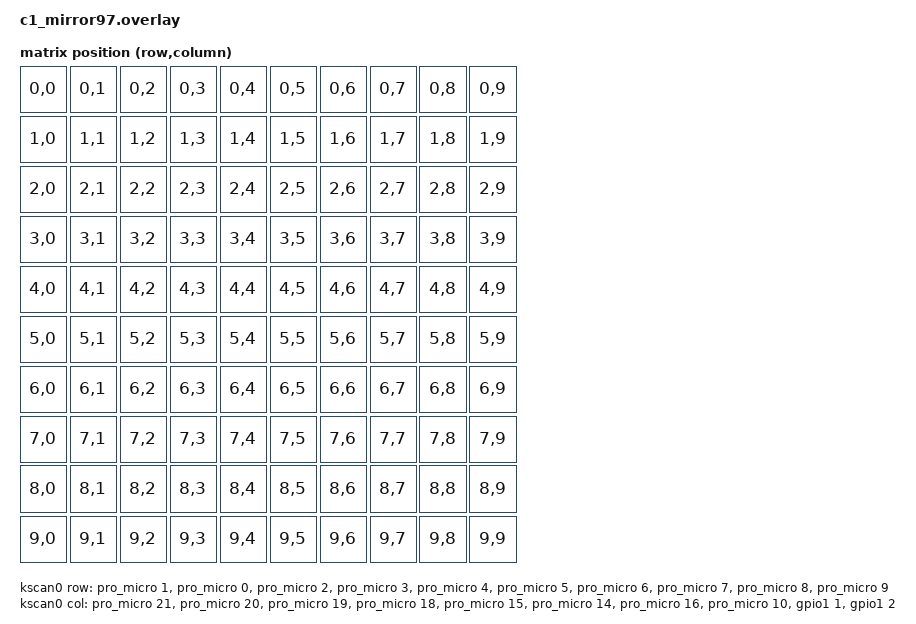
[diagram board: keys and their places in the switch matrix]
/*
 * C1 Mirror97 RGB · 97 键 · 左手真镜像数字区 · Choc V2
 * 主控：nice!nano v2（NRF52840，ZMK board = nice_nano_v2）
 *
 * 矩阵：10 行 x 10 列，二极管阴极接 COL -> diode-direction = "row2col"
 *       row2col 下 rows 为输出、cols 为输入
 *       脚位：18 个边缘 GPIO 做 ROW0..9 + COL0..7；
 *             COL8/COL9 用主控背面 P1.01 / P1.02（方案 A，已 DRC 验证）
 *
 * RGB 灯链：98 颗 SK6812 MINI-E（97 键下灯 + 1 状态灯），串成一条链。
 *       数据脚 = P1.07 (gpio1 7) -> 板载 74AHCT1G125 电平转换 -> 灯链 DIN
 *       用 SPI3 的 MOSI 驱动（WS2812/SK6812 单总线，4MHz），
 *       P1.07 作为 SPIM MOSI 映射到 pinctrl。
 *       灯序已按 v20 重排（按列蛇形），末灯紧邻右上角状态灯。
 */
#include <behaviors.dtsi>
#include <dt-bindings/zmk/keys.h>
#include <dt-bindings/zmk/matrix_transform.h>
#include <dt-bindings/gpio/gpio.h>
#include <dt-bindings/led/led.h>

/ {
    chosen {
        zmk,kscan = &kscan0;
        zmk,matrix-transform = &default_transform;
        zmk,underglow = &led_strip;
    };

    /* 逻辑 10x10 直接按 row-major 展开：keymap 第 n 项 = RC(n/10, n%10) */
    default_transform: keymap_transform_0 {
        compatible = "zmk,matrix-transform";
        columns = <10>;
        rows = <10>;
        map = <
        RC(0,0) RC(0,1) RC(0,2) RC(0,3) RC(0,4) RC(0,5) RC(0,6) RC(0,7) RC(0,8) RC(0,9)
        RC(1,0) RC(1,1) RC(1,2) RC(1,3) RC(1,4) RC(1,5) RC(1,6) RC(1,7) RC(1,8) RC(1,9)
        RC(2,0) RC(2,1) RC(2,2) RC(2,3) RC(2,4) RC(2,5) RC(2,6) RC(2,7) RC(2,8) RC(2,9)
        RC(3,0) RC(3,1) RC(3,2) RC(3,3) RC(3,4) RC(3,5) RC(3,6) RC(3,7) RC(3,8) RC(3,9)
        RC(4,0) RC(4,1) RC(4,2) RC(4,3) RC(4,4) RC(4,5) RC(4,6) RC(4,7) RC(4,8) RC(4,9)
        RC(5,0) RC(5,1) RC(5,2) RC(5,3) RC(5,4) RC(5,5) RC(5,6) RC(5,7) RC(5,8) RC(5,9)
        RC(6,0) RC(6,1) RC(6,2) RC(6,3) RC(6,4) RC(6,5) RC(6,6) RC(6,7) RC(6,8) RC(6,9)
        RC(7,0) RC(7,1) RC(7,2) RC(7,3) RC(7,4) RC(7,5) RC(7,6) RC(7,7) RC(7,8) RC(7,9)
        RC(8,0) RC(8,1) RC(8,2) RC(8,3) RC(8,4) RC(8,5) RC(8,6) RC(8,7) RC(8,8) RC(8,9)
        RC(9,0) RC(9,1) RC(9,2) RC(9,3) RC(9,4) RC(9,5) RC(9,6) RC(9,7) RC(9,8) RC(9,9)
        >;
    };

    kscan0: kscan {
        compatible = "zmk,kscan-gpio-matrix";
        diode-direction = "row2col";
        wakeup-source;

        /* 输出脚：只用 ACTIVE_HIGH */
        row-gpios
              = <&pro_micro 1 GPIO_ACTIVE_HIGH>        /* ROW0 = D1 */
              , <&pro_micro 0 GPIO_ACTIVE_HIGH>        /* ROW1 = D0 */
              , <&pro_micro 2 GPIO_ACTIVE_HIGH>        /* ROW2 = D2 */
              , <&pro_micro 3 GPIO_ACTIVE_HIGH>        /* ROW3 = D3 */
              , <&pro_micro 4 GPIO_ACTIVE_HIGH>        /* ROW4 = D4 */
              , <&pro_micro 5 GPIO_ACTIVE_HIGH>        /* ROW5 = D5 */
              , <&pro_micro 6 GPIO_ACTIVE_HIGH>        /* ROW6 = D6 */
              , <&pro_micro 7 GPIO_ACTIVE_HIGH>        /* ROW7 = D7 */
              , <&pro_micro 8 GPIO_ACTIVE_HIGH>        /* ROW8 = D8 */
              , <&pro_micro 9 GPIO_ACTIVE_HIGH>        /* ROW9 = D9 */
            ;

        /* 输入脚：必须带下拉，否则悬空会乱触发 */
        col-gpios
              = <&pro_micro 21 (GPIO_ACTIVE_HIGH | GPIO_PULL_DOWN)>   /* COL0 = D21 */
              , <&pro_micro 20 (GPIO_ACTIVE_HIGH | GPIO_PULL_DOWN)>   /* COL1 = D20 */
              , <&pro_micro 19 (GPIO_ACTIVE_HIGH | GPIO_PULL_DOWN)>   /* COL2 = D19 */
              , <&pro_micro 18 (GPIO_ACTIVE_HIGH | GPIO_PULL_DOWN)>   /* COL3 = D18 */
              , <&pro_micro 15 (GPIO_ACTIVE_HIGH | GPIO_PULL_DOWN)>   /* COL4 = D15 */
              , <&pro_micro 14 (GPIO_ACTIVE_HIGH | GPIO_PULL_DOWN)>   /* COL5 = D14 */
              , <&pro_micro 16 (GPIO_ACTIVE_HIGH | GPIO_PULL_DOWN)>   /* COL6 = D16 */
              , <&pro_micro 10 (GPIO_ACTIVE_HIGH | GPIO_PULL_DOWN)>   /* COL7 = D10 */
              , <&gpio1 1 (GPIO_ACTIVE_HIGH | GPIO_PULL_DOWN)>        /* COL8 = P1.01 */
              , <&gpio1 2 (GPIO_ACTIVE_HIGH | GPIO_PULL_DOWN)>        /* COL9 = P1.02 */
            ;
    };
};

/* ============ RGB 灯链：SPI3 MOSI = P1.07，98 颗 SK6812 ============ */
&pinctrl {
    spi3_default: spi3_default {
        group1 {
            psels = <NRF_PSEL(SPIM_MOSI, 1, 7)>;   /* P1.07 -> 电平转换 -> 灯链 DIN */
        };
    };

    spi3_sleep: spi3_sleep {
        group1 {
            psels = <NRF_PSEL(SPIM_MOSI, 1, 7)>;
            low-power-enable;
        };
    };
};

&spi3 {
    compatible = "nordic,nrf-spim";
    status = "okay";

    pinctrl-0 = <&spi3_default>;
    pinctrl-1 = <&spi3_sleep>;
    pinctrl-names = "default", "sleep";

    led_strip: ws2812@0 {
        compatible = "worldsemi,ws2812-spi";

        /* SPI */
        reg = <0>;                       /* ignored, but necessary for SPI bindings */
        spi-max-frequency = <4000000>;   /* 4MHz, WS2812/SK6812 标准 */

        /* WS2812 / SK6812: 98 颗 = 97 键下灯 + 1 状态灯 */
        chain-length = <98>;
        spi-one-frame = <0x70>;
        spi-zero-frame = <0x40>;

        /* SK6812/WS2812 数据顺序为 GRB -> GREEN RED BLUE */
        color-mapping = <LED_COLOR_ID_GREEN LED_COLOR_ID_RED LED_COLOR_ID_BLUE>;
    };
};
